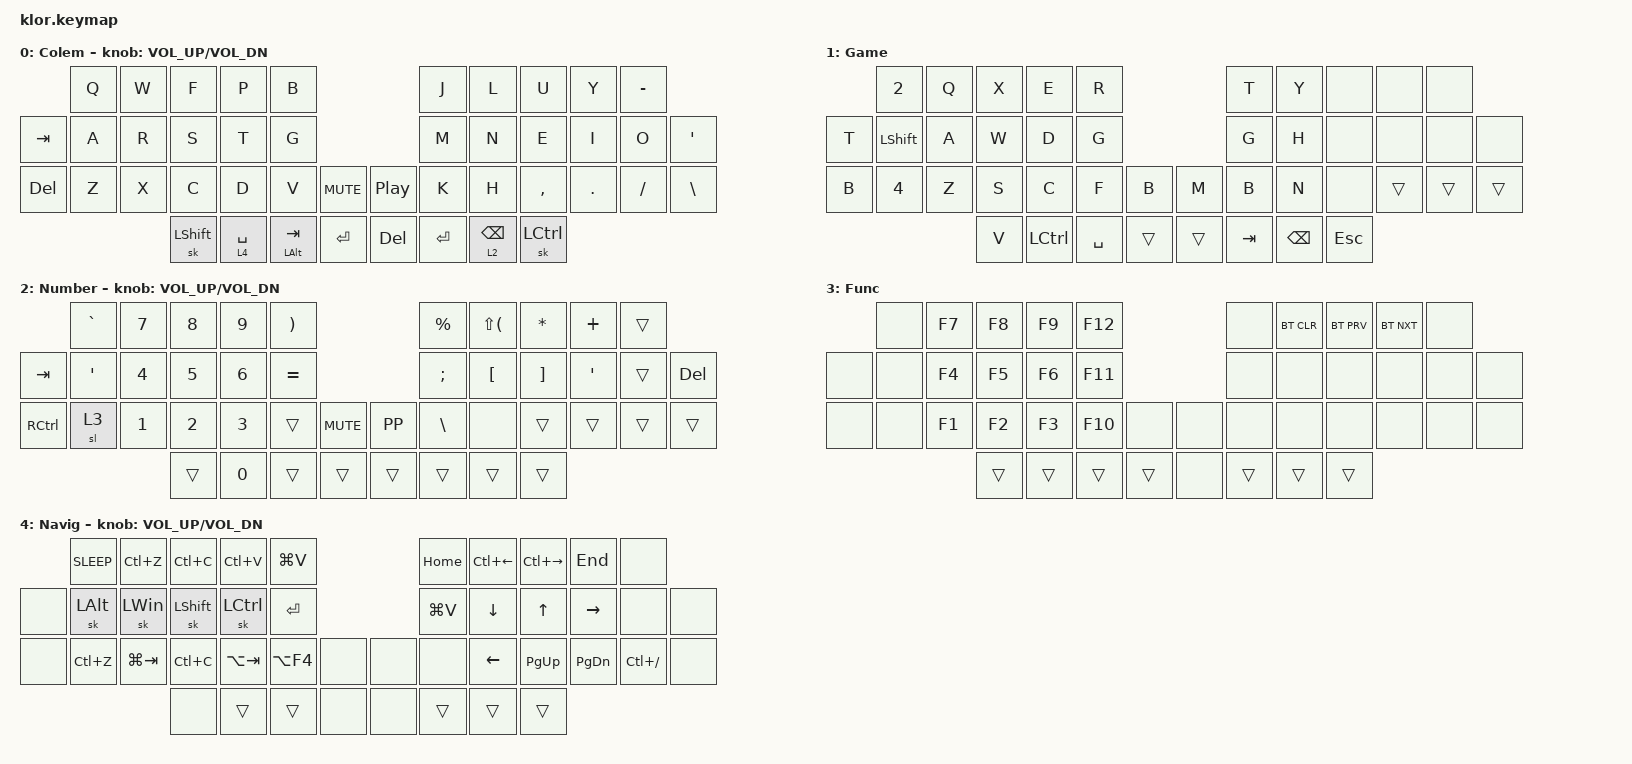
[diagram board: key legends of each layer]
//                               █         █    █            ▄▄▄▀▀▀▀▀▀▄▄▄        █▀▀▀▀▀▀▀▀▀▀█
//                               █        █     █          ▄▀            ▀▄      █          █
//                               █       █      █        ▄▀                ▀▄    █          █
//                               █      █       █        █                  █    █          █
//                               █     █        █       █                    █   █          █
//                               █    █         █       █                    █   █▄▄▄▄▄▄▄▄▄▄█
//                               █   █ █        █       █                    █   █      █
//                               █  █   █       █        █                  █    █       █
//                               █ █     █      █        ▀▄                ▄▀    █        █
//                               ██       █     █          ▀▄            ▄▀      █         █
//                               █         █    █▄▄▄▄▄▄▄▄    ▀▀▀▄▄▄▄▄▄▀▀▀        █          █
//
// ▄▄▄▄▄▄▄▄▄▄▄▄▄▄▄▄▄▄▄▄▄▄▄▄▄▄▄▄▄▄▄▄▄▄▄▄▄▄▄▄▄▄▄▄▄▄▄▄▄▄▄▄▄▄▄▄▄▄▄▄▄▄▄▄▄▄▄▄▄▄▄▄▄▄▄▄▄▄▄▄▄▄▄▄▄▄▄▄▄▄▄▄▄▄▄▄▄▄▄▄▄▄▄▄▄▄▄▄▄▄▄▄▄▄▄▄▄▄▄▄▄▄▄▄▄

#include <behaviors.dtsi>
#include <dt-bindings/zmk/bt.h>
#include <dt-bindings/zmk/keys.h>

#define BASE   0
#define LOWER  1
#define RAISE  2
#define ADJUST 3

/ {
    behaviors {
        hm: homerow_mods {
            compatible = "zmk,behavior-hold-tap";
            label = "HOMEROW_MODS";
            #binding-cells = <2>;
            tapping-term-ms = <150>;
            quick_tap_ms = <0>;
            flavor = "tap-preferred";
            bindings = <&kp>, <&kp>;
        };
    };

    combos {
        compatible = "zmk,combos";

        go0 {
            timeout-ms = <50>;
            key-positions = <37 42>;
            bindings = <&to 0>;
        };

        esc {
            bindings = <&kp ESC>;
            key-positions = <2 3>;
        };

        racket {
            bindings = <&kp LEFT_PARENTHESIS>;
            key-positions = <6 7>;
        };

        close_racket {
            bindings = <&kp RIGHT_PARENTHESIS>;
            key-positions = <7 8>;
        };

        to3 {
            bindings = <&to 4>;
            key-positions = <17 18>;
        };

        to1 {
            bindings = <&to 2>;
            key-positions = <38 41>;
            timeout-ms = <50>;
        };

        TO2 {
            bindings = <&to 1>;
            key-positions = <0 36>;
            timeout-ms = <50>;
        };

        del {
            bindings = <&kp DEL>;
            key-positions = <1 2>;
        };

        to_Mouse {
            bindings = <&to 0>;
            key-positions = <14 17>;
        };

        colum {
            bindings = <&kp COLON>;
            key-positions = <14 25>;
        };

        daunhay {
            bindings = <&kp SINGLE_QUOTE>;
            key-positions = <17 32>;
        };

        gamefor2 {
            bindings = <&kp NUMBER_2>;
            key-positions = <26 25>;
        };

        game_for_4 {
            bindings = <&kp NUMBER_1>;
            key-positions = <24 25>;
        };
    };

    keymap {
        compatible = "zmk,keymap";

        // ▄▄▄▄▄▄▄▄▄▄▄▄▄▄▄▄▄▄▄▄▄▄▄▄▄▄▄▄▄▄▄▄▄▄▄▄▄▄▄▄▄▄▄▄▄▄▄▄▄▄▄▄▄▄▄▄▄▄▄▄▄▄▄▄▄▄▄▄▄▄▄▄▄▄▄▄▄▄▄▄▄▄▄▄▄▄▄▄▄▄▄▄▄▄▄▄▄▄▄▄▄▄▄▄▄▄▄▄▄▄▄▄▄▄▄▄▄▄▄▄▄▄▄▄▄▄▄▄▄▄▄▄▄▄▄▄▄▄▄▄▄▄

        base_layer {
            // ┌───────────────────────────────────────────────────────────┐

            label = "Colem";

            // └───────────────────────────────────────────────────────────┘
            /*           ┌─────────┬─────────┬─────────┬─────────┬─────────┐                    ┌─────────┬─────────┬─────────┬─────────┬─────────┐
             │    Q    │    W    │    F    │    P    │    G    │                    │    J    │    L    │    U    │    Y    │    ;    │   
   ┌─────────┼─────────┼─────────┼─────────┼─────────┼─────────┤                    ├─────────┼─────────┼─────────┼─────────┼─────────┼─────────┐
   │   TAB   │    A    │    R    │    S    │    T    │    D    │                    │    H    │    N    │    E    │    I    │    O    │    "    │
   ├─────────┼─────────┼─────────┼─────────┼─────────┼─────────┤╭────────╮╭────────╮├─────────┼─────────┼─────────┼─────────┼─────────┼─────────┤
   │   DEL   │    Z    │    X    │    C    │    V    │    B    ││  MUTE  ││PLY/PSE ││    K    │    M    │    ,    │    .    │    /    │    \    │
   └─────────┴─────────┴─────────┼─────────┼─────────┼─────────┼╰────────╯╰────────╯┼─────────┼─────────┼─────────┼─────────┴─────────┴─────────┘
                                 │  CTRL   │  LOWER  │  SPACE  │   ALT   ││ CMD/WIN │  ENTER  │  RAISE  │  BSPCE  │  
                                 └─────────┴─────────┴─────────┴─────────┘└─────────┴─────────┴─────────┴─────────┘ */

            bindings = <
         &kp Q  &kp W  &kp F           &kp P        &kp B                                           &kp J      &kp L            &kp U      &kp Y    &kp MINUS
&kp TAB  &kp A  &kp R  &kp S           &kp T        &kp G                                           &kp M      &kp N            &kp E      &kp I    &kp O      &kp SQT
&kp DEL  &kp Z  &kp X  &kp C           &kp D        &kp V             &kp K_MUTE  &kp C_PLAY_PAUSE  &kp K      &kp H            &kp COMMA  &kp DOT  &kp FSLH   &kp BSLH
                       &sk LEFT_SHIFT  &lt 4 SPACE  &hm LEFT_ALT TAB  &kp ENTER   &kp DEL           &kp ENTER  &lt 2 BACKSPACE  &sk LCTRL
            >;

            sensor-bindings = <&inc_dec_kp C_VOL_UP C_VOL_DN>;
        };

        Game {
            bindings = <
       &kp NUMBER_2    &kp Q  &kp X  &kp E      &kp R                      &kp T    &kp Y     &none    &none   &none
&kp T  &kp LEFT_SHIFT  &kp A  &kp W  &kp D      &kp G                      &kp G    &kp H     &none    &none   &none   &none
&kp B  &kp NUMBER_4    &kp Z  &kp S  &kp C      &kp F      &kp B   &kp M   &kp B    &kp N     &none    &trans  &trans  &trans
                              &kp V  &kp LCTRL  &kp SPACE  &trans  &trans  &kp TAB  &kp BSPC  &kp ESC
            >;

            label = "Game";
        };

        Number {
            // ┌───────────────────────────────────────────────────────────┐

            label = "Number";

            // └───────────────────────────────────────────────────────────┘
            /*           ┌─────────┬─────────┬─────────┬─────────┬─────────┐                    ┌─────────┬─────────┬─────────┬─────────┬─────────┐
             │         │         │    UP   │         │    {    │                    │    }    │    7    │    8    │    9    │    +    │
   ┌─────────┼─────────┼─────────┼─────────┼─────────┼─────────┤                    ├─────────┼─────────┼─────────┼─────────┼─────────┼─────────┐
   │         │         │   LEFT  │  DOWN   │  RIGHT  │    [    │                    │    ]    │    4    │    5    │    6    │    -    │         │
   ├─────────┼─────────┼─────────┼─────────┼─────────┼─────────┤╭────────╮╭────────╮├─────────┼─────────┼─────────┼─────────┼─────────┼─────────┤
   │         │         │   P UP  │ C LOCK  │ P DOWN  │    (    ││        ││        ││    )    │    1    │    2    │    3    │    *    │         │
   └─────────┴─────────┴─────────┼─────────┼─────────┼─────────┼╰────────╯╰────────╯┼─────────┼─────────┼─────────┼─────────┴─────────┴─────────┘
                                 │         │         │         │         ││         │         │    0    │         │  
                                 └─────────┴─────────┴─────────┴─────────┘└─────────┴─────────┴─────────┴─────────┘ */

            bindings = <
           &kp GRAVE  &kp N7        &kp N8        &kp N9        &kp RIGHT_PARENTHESIS                        &kp PERCENT    &kp LS(LEFT_PARENTHESIS)  &kp ASTERISK       &kp PLUS  &trans
&kp TAB    &kp SQT    &kp NUMBER_4  &kp N5        &kp NUMBER_6  &kp EQUAL                                    &kp SEMICOLON  &kp LEFT_BRACKET          &kp RIGHT_BRACKET  &kp SQT   &trans  &kp DEL
&kp RCTRL  &sl 3      &kp NUMBER_1  &kp NUMBER_2  &kp NUMBER_3  &trans                 &kp C_MUTE  &kp K_PP  &kp BSLH       &none                     &trans             &trans    &trans  &trans
                                    &trans        &kp N0        &trans                 &trans      &trans    &trans         &trans                    &trans
            >;

            sensor-bindings = <&inc_dec_kp C_VOL_UP C_VOL_DN>;
        };

        Func_layer {
            bindings = <
       &none  &kp F7  &kp F8  &kp F9  &kp F12                 &none   &bt BT_CLR  &bt BT_PRV  &bt BT_NXT  &none
&none  &none  &kp F4  &kp F5  &kp F6  &kp F11                 &none   &none       &none       &none       &none  &none
&none  &none  &kp F1  &kp F2  &kp F3  &kp F10  &none   &none  &none   &none       &none       &none       &none  &none
                      &trans  &trans  &trans   &trans  &none  &trans  &trans      &trans
            >;

            label = "Func";
        };

        Navigation_layer {
            // ┌───────────────────────────────────────────────────────────┐

            label = "Navig";

            // └───────────────────────────────────────────────────────────┘
            /*           ┌─────────┬─────────┬─────────┬─────────┬─────────┐                    ┌─────────┬─────────┬─────────┬─────────┬─────────┐
             │         │         │         │         │         │                    │         │         │         │         │         │
   ┌─────────┼─────────┼─────────┼─────────┼─────────┼─────────┤                    ├─────────┼─────────┼─────────┼─────────┼─────────┼─────────┐
   │         │         │         │         │         │         │                    │         │         │         │         │         │         │
   ├─────────┼─────────┼─────────┼─────────┼─────────┼─────────┤╭────────╮╭────────╮├─────────┼─────────┼─────────┼─────────┼─────────┼─────────┤
   │         │         │         │         │         │         ││        ││        ││         │         │         │         │         │         │
   └─────────┴─────────┴─────────┼─────────┼─────────┼─────────┼╰────────╯╰────────╯┼─────────┼─────────┼─────────┼─────────┴─────────┴─────────┘
                                 │         │         │         │         ││         │         │         │         │  
                                 └─────────┴─────────┴─────────┴─────────┘└─────────┴─────────┴─────────┴─────────┘ */

            bindings = <
       &kp K_SLEEP   &kp LC(Z)    &kp LC(C)  &kp LC(V)    &kp LG(V)                 &kp HOME   &kp LC(LEFT)  &kp LC(RIGHT)  &kp END    &none
&none  &sk LEFT_ALT  &sk LWIN     &sk LSHFT  &sk LCTRL    &kp ENTER                 &kp LG(V)  &kp DOWN      &kp UP         &kp RIGHT  &none         &none
&none  &kp LC(Z)     &kp LG(TAB)  &kp LC(C)  &kp LA(TAB)  &kp LA(F4)  &none  &none  &none      &kp LEFT      &kp PG_UP      &kp PG_DN  &kp LC(FSLH)  &none
                                  &none      &trans       &trans      &none  &none  &trans     &trans        &trans
            >;

            sensor-bindings = <&inc_dec_kp C_VOL_UP C_VOL_DN>;
        };
    };
};
